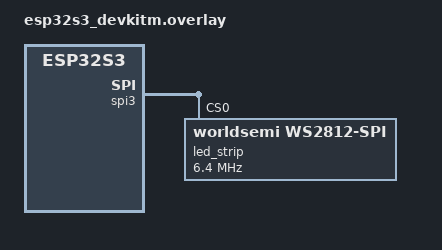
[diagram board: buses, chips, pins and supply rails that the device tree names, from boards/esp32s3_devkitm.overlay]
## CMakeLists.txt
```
cmake_minimum_required(VERSION 3.13.1)

find_package(Zephyr REQUIRED HINTS $ENV{ZEPHYR_BASE})

project(app LANGUAGES C)

find_package(Zephyr REQUIRED HINTS $ENV{ZEPHYR_BASE})

target_include_directories(
    app PRIVATE 
    src/app/
)

target_sources(
    app PRIVATE 
    src/main.c
    src/app/app.c
    src/app/ble/ble_rtls.c
    src/app/ui/ui.c
)
```

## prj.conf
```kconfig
# Base shell config
CONFIG_SERIAL=y
CONFIG_CONSOLE=y
CONFIG_UART_CONSOLE=y
CONFIG_SHELL=y
CONFIG_SHELL_PROMPT_UART="esp32> "

# Logs
CONFIG_LOG=y

# General
CONFIG_PICOLIBC=y
CONFIG_PICOLIBC_USE_MODULE=y
CONFIG_MAIN_STACK_SIZE=4096

# BLE
CONFIG_BT=y
CONFIG_BT_BROADCASTER=y
CONFIG_BT_OBSERVER=y

# BOOTLOADER
CONFIG_BOOTLOADER_MCUBOOT=n

# LED
CONFIG_LED_STRIP=y
```

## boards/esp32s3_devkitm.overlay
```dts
#include <zephyr/dt-bindings/led/led.h>

&spi3 {
        /* Workaround to support WS2812 driver */
        line-idle-low;

        led_strip: ws2812@0 {
                compatible = "worldsemi,ws2812-spi";

                /* SPI */
                reg = <0>; /* ignored, but necessary for SPI bindings */
                spi-max-frequency = <6400000>;

                /* WS2812 */
                chain-length = <1>; /* arbitrary; change at will */
                spi-cpha;
                spi-one-frame = <0xf0>; /* 11110000: 625 ns high and 625 ns low */
                spi-zero-frame = <0xc0>; /* 11000000: 312.5 ns high and 937.5 ns low */
                color-mapping = <LED_COLOR_ID_GREEN LED_COLOR_ID_RED LED_COLOR_ID_BLUE>;
        };
};

&pinctrl {
	spim3_default: spim3_default {
		group2 {
			pinmux = <SPIM3_MOSI_GPIO48>;
		};
	};
};

/ {
     aliases {
		led-strip = &led_strip;
     };
};
```

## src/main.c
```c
#include "app/app.h"

int main(void) {
    return app_init();
}
```
